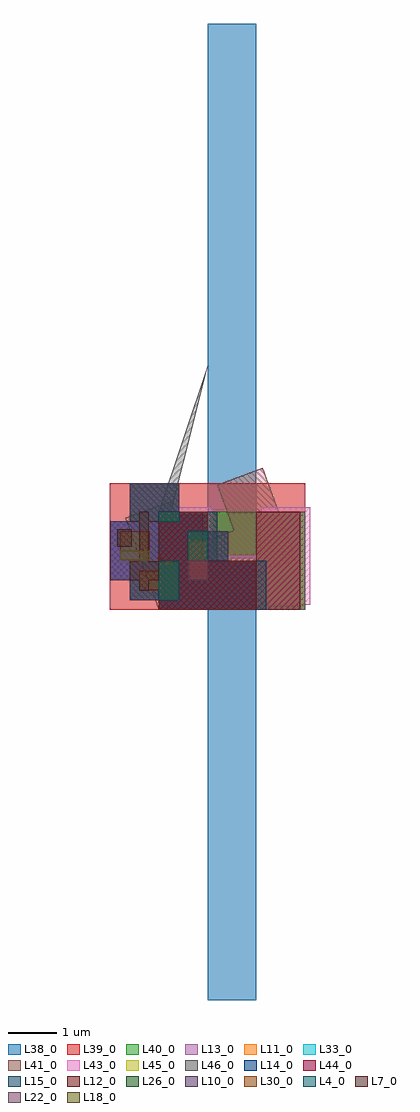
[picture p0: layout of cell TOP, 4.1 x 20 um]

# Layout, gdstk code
import gdstk
lib = gdstk.Library(unit=1e-6, precision=1e-09)
def R(c, l, rs):  # rectangles x0, y0, x1, y1
    for r in rs: c.add(gdstk.rectangle(r[:2], r[2:], *l))
def P(c, l, *ps):  # polygons
    for p in ps: c.add(gdstk.Polygon(p, *l))
L4_0 = (4, 0)
L6_0 = (6, 0)
L7_0 = (7, 0)
L10_0 = (10, 0)
L11_0 = (11, 0)
L12_0 = (12, 0)
L13_0 = (13, 0)
L14_0 = (14, 0)
L15_0 = (15, 0)
L18_0 = (18, 0)
L19_0 = (19, 0)
L20_0 = (20, 0)
L22_0 = (22, 0)
L24_0 = (24, 0)
L25_0 = (25, 0)
L26_0 = (26, 0)
L27_0 = (27, 0)
L28_0 = (28, 0)
L29_0 = (29, 0)
L30_0 = (30, 0)
L32_0 = (32, 0)
L33_0 = (33, 0)
L35_0 = (35, 0)
L36_0 = (36, 0)
L37_0 = (37, 0)
L38_0 = (38, 0)
L39_0 = (39, 0)
L40_0 = (40, 0)
L41_0 = (41, 0)
L43_0 = (43, 0)
L44_0 = (44, 0)
L45_0 = (45, 0)
L46_0 = (46, 0)

top = lib.new_cell('TOP')
R(top, L4_0, [(0,0.196,0.407,0.991), (0.589,1,1,1.603), (0,1.804,0.416,2)])
R(top, L7_0, [(-0.854,1.283,-0.553,1.644)])
P(top, L7_0, [(-0.402,0.388),(-0.402,0.598),(-0.598,0.598),(-0.598,0.991),(-0.402,0.991),(-0.402,1.804),(-0.598,1.804),(-0.598,1.809),(-0.402,1.809),(-0.402,2.005),(-0.201,2.005),(-0.201,1.809),(0,1.809),(0,1.804),(-0.201,1.804),(-0.201,0.991),(0,0.991),(0,0.598),(-0.201,0.598),(-0.201,0.388)])
R(top, L10_0, [(1,1,1.425,1.603)])
P(top, L10_0, [(-0.598,0.196),(-0.598,0.598),(-0.996,0.598),(-0.996,1.809),(-0.598,1.809),(-0.598,2.594),(0.416,2.594),(0.416,2),(0,2),(0,0.196)])
P(top, L11_0, [(0,0),(0,2),(1,2),(1,1),(2,1),(2,2),(3,2),(3,0)])
P(top, L12_0, [(0,0),(0,2),(1,2),(1,1),(2,1),(2,0)])
P(top, L13_0, [(0,0),(0,0.196),(-0.598,0.196),(-0.598,0.598),(-0.996,0.598),(-0.996,1.809),(-0.598,1.809),(-0.598,2.594),(0.416,2.594),(0.416,2),(1,2),(1,1.603),(1.425,1.603),(1.425,1),(2,1),(2,0)])
P(top, L14_0, [(0,0),(0,0.196),(-0.598,0.196),(-0.598,0.598),(-0.996,0.598),(-0.996,0.991),(0,0.991),(0,0.196),(0.407,0.196),(0.407,0.991),(-0.996,0.991),(-0.996,1.603),(0.589,1.603),(0.589,1),(1,1),(1,1.603),(-0.996,1.603),(-0.996,1.809),(-0.598,1.809),(-0.598,2),(0,2),(0,1.804),(0.416,1.804),(0.416,2),(-0.598,2),(-0.598,2.594),(0.416,2.594),(0.416,2),(1,2),(1,1.603),(1.425,1.603),(1.425,1),(2,1),(2,0)])
P(top, L15_0, [(0,0),(0,2),(1.2,2),(1.2,1),(2.2,1),(2.2,0)])
R(top, L18_0, [(-0.788,1.007,-0.184,1.205), (-0.021,1.007,0.081,1.009)])
R(top, L22_0, [(0.607,0.597,1,1.008)])
P(top, L22_0, [(-0.02,1.008),(0.08,1.008),(0.08,1.008),(-0.02,1.008)])
R(top, L26_0, [(-0.598,0.196,0.407,0.991), (-0.402,0.388,-0.201,2.005), (0.589,1,1.425,1.603), (-0.854,1.283,-0.553,1.644), (-0.598,1.804,0.416,2.594)])
R(top, L30_0, [(-0.398,0.393,0,0.796), (0.607,0.597,1,1.403), (0.139,0.914,0.26,1.008), (-0.02,1.008,0.08,1.06), (-0.787,1.204,-0.185,1.602)])
P(top, L33_0, [(0,0),(0,2),(1,2),(1,1),(2,1),(2,2),(3,2),(3,0)])
R(top, L38_0, [(1,-8,2,12)])
R(top, L39_0, [(-1.001,0,3,2.594)])
R(top, L40_0, [(0,0,3,2)])
P(top, L41_0, [(0,0),(-0.684,1.879),(0.256,2.221),(0.598,1.282),(1.537,1.624),(1.195,2.563),(2.135,2.905),(2.819,1.026)])
P(top, L43_0, [(0.1,0.1),(0.1,2.1),(1.1,2.1),(1.1,1.1),(2.1,1.1),(2.1,2.1),(3.1,2.1),(3.1,0.1)])
P(top, L44_0, [(0,0),(0,2),(0.9,2),(0.9,1),(2,1),(2,2),(2.9,2),(2.9,0)])
P(top, L45_0, [(0,0),(0,2),(1,2),(1,1),(2,1),(2,2),(3,2),(3,0)])
P(top, L46_0, [(0,0),(0,2),(1,2),(1,1),(2,1),(2,2),(3,2),(3,0)],
  [(1,0),(0,1),(1,5),(0,2)])
top.add(gdstk.FlexPath([(-0.598,0.196),(-0.598,0.598)], 0, ends="flush", simple_path=True, layer=6, datatype=0))  # L6_0
top.add(gdstk.FlexPath([(-0.598,0.598),(-0.996,0.598)], 0, ends="flush", simple_path=True, layer=6, datatype=0))  # L6_0
top.add(gdstk.FlexPath([(-0.996,1.809),(-0.598,1.809)], 0, ends="flush", simple_path=True, layer=6, datatype=0))  # L6_0
top.add(gdstk.FlexPath([(0,0.991),(0.407,0.991)], 0, ends="flush", simple_path=True, layer=6, datatype=0))  # L6_0
top.add(gdstk.FlexPath([(0.416,1.804),(0,1.804)], 0, ends="flush", simple_path=True, layer=6, datatype=0))  # L6_0
top.add(gdstk.FlexPath([(0,0.393),(-0.398,0.393)], 0, ends="flush", simple_path=True, layer=19, datatype=0))  # L19_0
top.add(gdstk.FlexPath([(0,0.198),(-0.398,0.198)], 0, ends="flush", simple_path=True, layer=19, datatype=0))  # L19_0
top.add(gdstk.FlexPath([(-0.398,0.796),(0,0.796)], 0, ends="flush", simple_path=True, layer=19, datatype=0))  # L19_0
top.add(gdstk.FlexPath([(-0.398,1.008),(0,1.008)], 0, ends="flush", simple_path=True, layer=19, datatype=0))  # L19_0
top.add(gdstk.FlexPath([(0.139,1.008),(0.26,1.008)], 0, ends="flush", simple_path=True, layer=19, datatype=0))  # L19_0
top.add(gdstk.FlexPath([(0.139,1.008),(0.26,1.008)], 0, ends="flush", simple_path=True, layer=19, datatype=0))  # L19_0
top.add(gdstk.FlexPath([(1,1.008),(1,0.597)], 0, ends="flush", simple_path=True, layer=19, datatype=0))  # L19_0
top.add(gdstk.FlexPath([(1.193,1.008),(1.193,0.597)], 0, ends="flush", simple_path=True, layer=19, datatype=0))  # L19_0
top.add(gdstk.FlexPath([(1,0.597),(0.607,0.597)], 0, ends="flush", simple_path=True, layer=19, datatype=0))  # L19_0
top.add(gdstk.FlexPath([(1,0.198),(0.607,0.198)], 0, ends="flush", simple_path=True, layer=19, datatype=0))  # L19_0
top.add(gdstk.FlexPath([(1,1.172),(1,1.08)], 0, ends="flush", simple_path=True, layer=19, datatype=0))  # L19_0
top.add(gdstk.FlexPath([(1.061,1.172),(1.061,1.08)], 0, ends="flush", simple_path=True, layer=19, datatype=0))  # L19_0
top.add(gdstk.FlexPath([(0.607,1.22),(0.607,1.403)], 0, ends="flush", simple_path=True, layer=19, datatype=0))  # L19_0
top.add(gdstk.FlexPath([(0.607,1.22),(0.607,1.403)], 0, ends="flush", simple_path=True, layer=19, datatype=0))  # L19_0
top.add(gdstk.FlexPath([(0.607,1.403),(0.801,1.403)], 0, ends="flush", simple_path=True, layer=19, datatype=0))  # L19_0
top.add(gdstk.FlexPath([(0.607,1.403),(0.801,1.403)], 0, ends="flush", simple_path=True, layer=19, datatype=0))  # L19_0
top.add(gdstk.FlexPath([(0.607,1.08),(0.607,1.172)], 0, ends="flush", simple_path=True, layer=19, datatype=0))  # L19_0
top.add(gdstk.FlexPath([(0.607,1.08),(0.607,1.172)], 0, ends="flush", simple_path=True, layer=19, datatype=0))  # L19_0
top.add(gdstk.FlexPath([(2,1),(2,0)], 0, ends="flush", simple_path=True, layer=20, datatype=0))  # L20_0
top.add(gdstk.FlexPath([(0,2),(1,2)], 0, ends="flush", simple_path=True, layer=20, datatype=0))  # L20_0
top.add(gdstk.FlexPath([(1,2),(1,1)], 0, ends="flush", simple_path=True, layer=20, datatype=0))  # L20_0
top.add(gdstk.FlexPath([(1,1),(2,1)], 0, ends="flush", simple_path=True, layer=20, datatype=0))  # L20_0
top.add(gdstk.FlexPath([(1,1),(1,2)], 0, ends="flush", simple_path=True, layer=26, datatype=0))  # L26_0
top.add(gdstk.FlexPath([(1,2),(2,1)], 0, ends="flush", simple_path=True, layer=26, datatype=0))  # L26_0
top.add(gdstk.FlexPath([(2,1),(1,1)], 0, ends="flush", simple_path=True, layer=26, datatype=0))  # L26_0
top.add(gdstk.FlexPath([(-0.2,1.283),(-0.053,1.283)], 0, ends="flush", simple_path=True, layer=24, datatype=0))  # L24_0
top.add(gdstk.FlexPath([(-0.401,1.283),(-0.202,1.283)], 0, ends="flush", simple_path=True, layer=24, datatype=0))  # L24_0
top.add(gdstk.FlexPath([(-0.552,1.283),(-0.403,1.283)], 0, ends="flush", simple_path=True, layer=24, datatype=0))  # L24_0
top.add(gdstk.FlexPath([(-0.853,1.283),(-0.554,1.283)], 0, ends="flush", simple_path=True, layer=24, datatype=0))  # L24_0
top.add(gdstk.FlexPath([(-1.354,1.283),(-0.855,1.283)], 0, ends="flush", simple_path=True, layer=24, datatype=0))  # L24_0
top.add(gdstk.FlexPath([(-0.854,1.282),(-0.854,0.783)], 0, ends="flush", simple_path=True, layer=24, datatype=0))  # L24_0
top.add(gdstk.FlexPath([(-0.854,1.643),(-0.854,1.284)], 0, ends="flush", simple_path=True, layer=24, datatype=0))  # L24_0
top.add(gdstk.FlexPath([(-0.854,2.144),(-0.854,1.645)], 0, ends="flush", simple_path=True, layer=24, datatype=0))  # L24_0
top.add(gdstk.FlexPath([(-0.553,1.645),(-0.553,2.144)], 0, ends="flush", simple_path=True, layer=24, datatype=0))  # L24_0
top.add(gdstk.FlexPath([(-0.553,1.284),(-0.553,1.643)], 0, ends="flush", simple_path=True, layer=24, datatype=0))  # L24_0
top.add(gdstk.FlexPath([(-0.553,0.783),(-0.553,1.282)], 0, ends="flush", simple_path=True, layer=24, datatype=0))  # L24_0
top.add(gdstk.FlexPath([(-0.402,1.282),(-0.402,-0.112)], 0, ends="flush", simple_path=True, layer=24, datatype=0))  # L24_0
top.add(gdstk.FlexPath([(-0.402,1.643),(-0.402,1.284)], 0, ends="flush", simple_path=True, layer=24, datatype=0))  # L24_0
top.add(gdstk.FlexPath([(-0.402,2.505),(-0.402,1.645)], 0, ends="flush", simple_path=True, layer=24, datatype=0))  # L24_0
top.add(gdstk.FlexPath([(-0.201,1.645),(-0.201,2.505)], 0, ends="flush", simple_path=True, layer=24, datatype=0))  # L24_0
top.add(gdstk.FlexPath([(-0.201,1.284),(-0.201,1.643)], 0, ends="flush", simple_path=True, layer=24, datatype=0))  # L24_0
top.add(gdstk.FlexPath([(-0.201,-0.112),(-0.201,1.282)], 0, ends="flush", simple_path=True, layer=24, datatype=0))  # L24_0
top.add(gdstk.FlexPath([(-0.855,1.644),(-1.354,1.644)], 0, ends="flush", simple_path=True, layer=24, datatype=0))  # L24_0
top.add(gdstk.FlexPath([(-0.554,1.644),(-0.853,1.644)], 0, ends="flush", simple_path=True, layer=24, datatype=0))  # L24_0
top.add(gdstk.FlexPath([(-0.403,1.644),(-0.552,1.644)], 0, ends="flush", simple_path=True, layer=24, datatype=0))  # L24_0
top.add(gdstk.FlexPath([(-0.202,1.644),(-0.401,1.644)], 0, ends="flush", simple_path=True, layer=24, datatype=0))  # L24_0
top.add(gdstk.FlexPath([(-0.053,1.644),(-0.2,1.644)], 0, ends="flush", simple_path=True, layer=24, datatype=0))  # L24_0
top.add(gdstk.FlexPath([(-0.853,1.282),(-0.853,1.282)], 0, ends="flush", simple_path=True, layer=24, datatype=0))  # L24_0
top.add(gdstk.FlexPath([(-0.554,1.282),(-0.554,1.282)], 0, ends="flush", simple_path=True, layer=24, datatype=0))  # L24_0
top.add(gdstk.FlexPath([(-0.401,1.282),(-0.401,1.282)], 0, ends="flush", simple_path=True, layer=24, datatype=0))  # L24_0
top.add(gdstk.FlexPath([(-0.202,1.282),(-0.202,1.282)], 0, ends="flush", simple_path=True, layer=24, datatype=0))  # L24_0
top.add(gdstk.FlexPath([(-0.854,1.283),(-0.854,1.283)], 0, ends="flush", simple_path=True, layer=24, datatype=0))  # L24_0
top.add(gdstk.FlexPath([(-0.553,1.283),(-0.553,1.283)], 0, ends="flush", simple_path=True, layer=24, datatype=0))  # L24_0
top.add(gdstk.FlexPath([(-0.402,1.283),(-0.402,1.283)], 0, ends="flush", simple_path=True, layer=24, datatype=0))  # L24_0
top.add(gdstk.FlexPath([(-0.201,1.283),(-0.201,1.283)], 0, ends="flush", simple_path=True, layer=24, datatype=0))  # L24_0
top.add(gdstk.FlexPath([(-0.855,1.284),(-0.855,1.284)], 0, ends="flush", simple_path=True, layer=24, datatype=0))  # L24_0
top.add(gdstk.FlexPath([(-0.552,1.284),(-0.552,1.284)], 0, ends="flush", simple_path=True, layer=24, datatype=0))  # L24_0
top.add(gdstk.FlexPath([(-0.403,1.284),(-0.403,1.284)], 0, ends="flush", simple_path=True, layer=24, datatype=0))  # L24_0
top.add(gdstk.FlexPath([(-0.2,1.284),(-0.2,1.284)], 0, ends="flush", simple_path=True, layer=24, datatype=0))  # L24_0
top.add(gdstk.FlexPath([(-0.855,1.643),(-0.855,1.643)], 0, ends="flush", simple_path=True, layer=24, datatype=0))  # L24_0
top.add(gdstk.FlexPath([(-0.552,1.643),(-0.552,1.643)], 0, ends="flush", simple_path=True, layer=24, datatype=0))  # L24_0
top.add(gdstk.FlexPath([(-0.403,1.643),(-0.403,1.643)], 0, ends="flush", simple_path=True, layer=24, datatype=0))  # L24_0
top.add(gdstk.FlexPath([(-0.2,1.643),(-0.2,1.643)], 0, ends="flush", simple_path=True, layer=24, datatype=0))  # L24_0
top.add(gdstk.FlexPath([(-0.854,1.644),(-0.854,1.644)], 0, ends="flush", simple_path=True, layer=24, datatype=0))  # L24_0
top.add(gdstk.FlexPath([(-0.553,1.644),(-0.553,1.644)], 0, ends="flush", simple_path=True, layer=24, datatype=0))  # L24_0
top.add(gdstk.FlexPath([(-0.402,1.644),(-0.402,1.644)], 0, ends="flush", simple_path=True, layer=24, datatype=0))  # L24_0
top.add(gdstk.FlexPath([(-0.201,1.644),(-0.201,1.644)], 0, ends="flush", simple_path=True, layer=24, datatype=0))  # L24_0
top.add(gdstk.FlexPath([(-0.853,1.645),(-0.853,1.645)], 0, ends="flush", simple_path=True, layer=24, datatype=0))  # L24_0
top.add(gdstk.FlexPath([(-0.554,1.645),(-0.554,1.645)], 0, ends="flush", simple_path=True, layer=24, datatype=0))  # L24_0
top.add(gdstk.FlexPath([(-0.401,1.645),(-0.401,1.645)], 0, ends="flush", simple_path=True, layer=24, datatype=0))  # L24_0
top.add(gdstk.FlexPath([(-0.202,1.645),(-0.202,1.645)], 0, ends="flush", simple_path=True, layer=24, datatype=0))  # L24_0
top.add(gdstk.FlexPath([(-0.353,0.991),(-0.798,0.991)], 0, ends="flush", simple_path=True, layer=25, datatype=0))  # L25_0
top.add(gdstk.FlexPath([(-0.798,1.283),(-0.554,1.283)], 0, ends="flush", simple_path=True, layer=25, datatype=0))  # L25_0
top.add(gdstk.FlexPath([(-0.552,1.283),(-0.403,1.283)], 0, ends="flush", simple_path=True, layer=25, datatype=0))  # L25_0
top.add(gdstk.FlexPath([(-0.401,1.283),(-0.353,1.283)], 0, ends="flush", simple_path=True, layer=25, datatype=0))  # L25_0
top.add(gdstk.FlexPath([(-0.353,1.644),(-0.401,1.644)], 0, ends="flush", simple_path=True, layer=25, datatype=0))  # L25_0
top.add(gdstk.FlexPath([(-0.403,1.644),(-0.552,1.644)], 0, ends="flush", simple_path=True, layer=25, datatype=0))  # L25_0
top.add(gdstk.FlexPath([(-0.554,1.644),(-0.798,1.644)], 0, ends="flush", simple_path=True, layer=25, datatype=0))  # L25_0
top.add(gdstk.FlexPath([(-0.402,1.844),(-0.402,1.805)], 0, ends="flush", simple_path=True, layer=25, datatype=0))  # L25_0
top.add(gdstk.FlexPath([(-0.402,1.803),(-0.402,1.645)], 0, ends="flush", simple_path=True, layer=25, datatype=0))  # L25_0
top.add(gdstk.FlexPath([(-0.402,1.643),(-0.402,1.284)], 0, ends="flush", simple_path=True, layer=25, datatype=0))  # L25_0
top.add(gdstk.FlexPath([(-0.402,1.282),(-0.402,1.083)], 0, ends="flush", simple_path=True, layer=25, datatype=0))  # L25_0
top.add(gdstk.FlexPath([(-0.798,1.804),(-0.554,1.804)], 0, ends="flush", simple_path=True, layer=25, datatype=0))  # L25_0
top.add(gdstk.FlexPath([(-0.552,1.804),(-0.403,1.804)], 0, ends="flush", simple_path=True, layer=25, datatype=0))  # L25_0
top.add(gdstk.FlexPath([(-0.401,1.804),(-0.353,1.804)], 0, ends="flush", simple_path=True, layer=25, datatype=0))  # L25_0
top.add(gdstk.FlexPath([(-0.553,1.083),(-0.553,1.282)], 0, ends="flush", simple_path=True, layer=25, datatype=0))  # L25_0
top.add(gdstk.FlexPath([(-0.553,1.284),(-0.553,1.643)], 0, ends="flush", simple_path=True, layer=25, datatype=0))  # L25_0
top.add(gdstk.FlexPath([(-0.553,1.645),(-0.553,1.803)], 0, ends="flush", simple_path=True, layer=25, datatype=0))  # L25_0
top.add(gdstk.FlexPath([(-0.553,1.805),(-0.553,1.844)], 0, ends="flush", simple_path=True, layer=25, datatype=0))  # L25_0
top.add(gdstk.FlexPath([(-0.554,1.282),(-0.554,1.282)], 0, ends="flush", simple_path=True, layer=25, datatype=0))  # L25_0
top.add(gdstk.FlexPath([(-0.401,1.282),(-0.401,1.282)], 0, ends="flush", simple_path=True, layer=25, datatype=0))  # L25_0
top.add(gdstk.FlexPath([(-0.553,1.283),(-0.553,1.283)], 0, ends="flush", simple_path=True, layer=25, datatype=0))  # L25_0
top.add(gdstk.FlexPath([(-0.402,1.283),(-0.402,1.283)], 0, ends="flush", simple_path=True, layer=25, datatype=0))  # L25_0
top.add(gdstk.FlexPath([(-0.552,1.284),(-0.552,1.284)], 0, ends="flush", simple_path=True, layer=25, datatype=0))  # L25_0
top.add(gdstk.FlexPath([(-0.403,1.284),(-0.403,1.284)], 0, ends="flush", simple_path=True, layer=25, datatype=0))  # L25_0
top.add(gdstk.FlexPath([(-0.552,1.643),(-0.552,1.643)], 0, ends="flush", simple_path=True, layer=25, datatype=0))  # L25_0
top.add(gdstk.FlexPath([(-0.403,1.643),(-0.403,1.643)], 0, ends="flush", simple_path=True, layer=25, datatype=0))  # L25_0
top.add(gdstk.FlexPath([(-0.553,1.644),(-0.553,1.644)], 0, ends="flush", simple_path=True, layer=25, datatype=0))  # L25_0
top.add(gdstk.FlexPath([(-0.402,1.644),(-0.402,1.644)], 0, ends="flush", simple_path=True, layer=25, datatype=0))  # L25_0
top.add(gdstk.FlexPath([(-0.554,1.645),(-0.554,1.645)], 0, ends="flush", simple_path=True, layer=25, datatype=0))  # L25_0
top.add(gdstk.FlexPath([(-0.401,1.645),(-0.401,1.645)], 0, ends="flush", simple_path=True, layer=25, datatype=0))  # L25_0
top.add(gdstk.FlexPath([(-0.554,1.803),(-0.554,1.803)], 0, ends="flush", simple_path=True, layer=25, datatype=0))  # L25_0
top.add(gdstk.FlexPath([(-0.401,1.803),(-0.401,1.803)], 0, ends="flush", simple_path=True, layer=25, datatype=0))  # L25_0
top.add(gdstk.FlexPath([(-0.553,1.804),(-0.553,1.804)], 0, ends="flush", simple_path=True, layer=25, datatype=0))  # L25_0
top.add(gdstk.FlexPath([(-0.402,1.804),(-0.402,1.804)], 0, ends="flush", simple_path=True, layer=25, datatype=0))  # L25_0
top.add(gdstk.FlexPath([(-0.552,1.805),(-0.552,1.805)], 0, ends="flush", simple_path=True, layer=25, datatype=0))  # L25_0
top.add(gdstk.FlexPath([(-0.403,1.805),(-0.403,1.805)], 0, ends="flush", simple_path=True, layer=25, datatype=0))  # L25_0
top.add(gdstk.FlexPath([(0.08,1.008),(-0.02,1.008)], 0, ends="flush", simple_path=True, layer=27, datatype=0))  # L27_0
top.add(gdstk.FlexPath([(0.139,1.008),(0.26,1.008)], 0, ends="flush", simple_path=True, layer=27, datatype=0))  # L27_0
top.add(gdstk.FlexPath([(0.607,1.08),(0.607,1.172)], 0, ends="flush", simple_path=True, layer=27, datatype=0))  # L27_0
top.add(gdstk.FlexPath([(0.607,1.22),(0.607,1.403)], 0, ends="flush", simple_path=True, layer=27, datatype=0))  # L27_0
top.add(gdstk.FlexPath([(0.607,1.403),(0.801,1.403)], 0, ends="flush", simple_path=True, layer=27, datatype=0))  # L27_0
top.add(gdstk.FlexPath([(0.139,1.008),(0.26,1.008)], 0, ends="flush", simple_path=True, layer=28, datatype=0))  # L28_0
top.add(gdstk.FlexPath([(0.607,1.08),(0.607,1.172)], 0, ends="flush", simple_path=True, layer=28, datatype=0))  # L28_0
top.add(gdstk.FlexPath([(0.607,1.22),(0.607,1.403)], 0, ends="flush", simple_path=True, layer=28, datatype=0))  # L28_0
top.add(gdstk.FlexPath([(0.607,1.403),(0.801,1.403)], 0, ends="flush", simple_path=True, layer=28, datatype=0))  # L28_0
top.add(gdstk.FlexPath([(0.08,1.008),(-0.02,1.008)], 0, ends="flush", simple_path=True, layer=29, datatype=0))  # L29_0
top.add(gdstk.FlexPath([(1,2),(1,1)], 0, ends="flush", simple_path=True, layer=32, datatype=0))  # L32_0
top.add(gdstk.FlexPath([(1,1),(2,1)], 0, ends="flush", simple_path=True, layer=32, datatype=0))  # L32_0
top.add(gdstk.FlexPath([(2,2),(3,2)], 0, ends="flush", simple_path=True, layer=32, datatype=0))  # L32_0
top.add(gdstk.FlexPath([(0.08,1.008),(-0.02,1.008)], 0, ends="flush", simple_path=True, layer=35, datatype=0))  # L35_0
top.add(gdstk.FlexPath([(0.139,1.008),(0.26,1.008)], 0, ends="flush", simple_path=True, layer=35, datatype=0))  # L35_0
top.add(gdstk.FlexPath([(0.607,1.08),(0.607,1.172)], 0, ends="flush", simple_path=True, layer=35, datatype=0))  # L35_0
top.add(gdstk.FlexPath([(0.607,1.22),(0.607,1.403)], 0, ends="flush", simple_path=True, layer=35, datatype=0))  # L35_0
top.add(gdstk.FlexPath([(0.607,1.403),(0.801,1.403)], 0, ends="flush", simple_path=True, layer=35, datatype=0))  # L35_0
top.add(gdstk.FlexPath([(2,1),(2,2)], 0, ends="flush", simple_path=True, layer=36, datatype=0))  # L36_0
top.add(gdstk.FlexPath([(1,2),(2,2)], 0, ends="flush", simple_path=True, layer=37, datatype=0))  # L37_0

lib.write_gds('TOP.gds')
